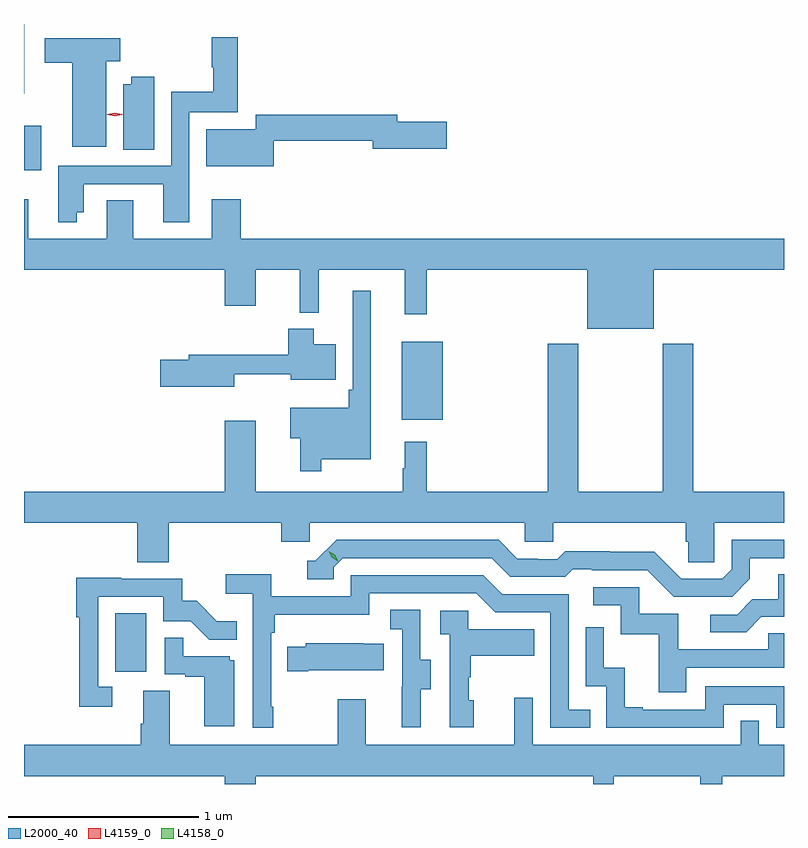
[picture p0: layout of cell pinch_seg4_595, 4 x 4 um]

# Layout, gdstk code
import gdstk
lib = gdstk.Library(unit=1e-6, precision=1e-09)
def R(c, l, rs):  # rectangles x0, y0, x1, y1
    for r in rs: c.add(gdstk.rectangle(r[:2], r[2:], *l))
def P(c, l, *ps):  # polygons
    for p in ps: c.add(gdstk.Polygon(p, *l))
L2000_40 = (2000, 40)
L4158_0 = (4158, 0)
L4159_0 = (4159, 0)

pinch_seg4_595 = lib.new_cell('pinch_seg4_595')
R(pinch_seg4_595, L2000_40, [(1075.52,772.062,1075.684,772.369), (1077.029,773.387,1077.244,773.797), (1075.04,774.701,1075.132,774.934), (1075.04,775.104,1075.041,775.47)])
P(pinch_seg4_595, L2000_40, [(1075.318,774.479),(1075.354,774.479),(1075.354,774.627),(1075.772,774.627),(1075.772,774.426),(1075.911,774.426),(1075.911,775.005),(1076.165,775.005),(1076.165,775.399),(1076.029,775.399),(1076.029,775.242),(1076.037,775.242),(1076.037,775.114),(1075.815,775.114),(1075.815,774.723),(1075.22,774.723),(1075.22,774.426),(1075.318,774.426)],
  [(1075.474,775.274),(1075.546,775.274),(1075.546,775.396),(1075.149,775.396),(1075.149,775.267),(1075.295,775.267),(1075.295,774.824),(1075.474,774.824)],
  [(1075.726,775.192),(1075.604,775.192),(1075.604,775.153),(1075.562,775.153),(1075.562,774.808),(1075.726,774.808)],
  [(1076.355,774.856),(1076.876,774.856),(1076.876,774.814),(1077.265,774.814),(1077.265,774.956),(1077.004,774.956),(1077.004,774.992),(1076.259,774.992),(1076.259,774.916),(1076,774.916),(1076,774.722),(1076.355,774.722)],
  [(1078.354,774.176),(1079.04,774.176),(1079.04,774.34),(1076.18,774.34),(1076.18,774.547),(1076.027,774.547),(1076.027,774.34),(1075.615,774.34),(1075.615,774.542),(1075.475,774.542),(1075.475,774.34),(1075.063,774.34),(1075.063,774.547),(1075.04,774.547),(1075.04,774.176),(1076.096,774.176),(1076.096,773.988),(1076.26,773.988),(1076.26,774.176),(1076.491,774.176),(1076.491,773.951),(1076.591,773.951),(1076.591,774.176),(1077.044,774.176),(1077.044,773.943),(1077.161,773.943),(1077.161,774.176),(1078.004,774.176),(1078.004,773.867),(1078.354,773.867)],
  [(1076.605,773.18),(1076.866,773.18),(1076.866,774.067),(1076.769,774.067),(1076.769,773.545),(1076.749,773.545),(1076.749,773.449),(1076.442,773.449),(1076.442,773.291),(1076.494,773.291),(1076.494,773.115),(1076.605,773.115)],
  [(1076.146,773.626),(1076.444,773.626),(1076.444,773.597),(1076.68,773.597),(1076.68,773.785),(1076.566,773.785),(1076.566,773.866),(1076.432,773.866),(1076.432,773.729),(1075.907,773.729),(1075.907,773.703),(1075.758,773.703),(1075.758,773.561),(1076.146,773.561)],
  [(1075.04,772.844),(1075.637,772.844),(1075.637,772.636),(1075.802,772.636),(1075.802,772.844),(1076.393,772.844),(1076.393,772.746),(1076.544,772.746),(1076.544,772.844),(1077.675,772.844),(1077.675,772.746),(1077.825,772.746),(1077.825,772.844),(1078.523,772.844),(1078.523,772.746),(1078.537,772.746),(1078.537,772.636),(1078.674,772.636),(1078.674,772.844),(1079.04,772.844),(1079.04,773.008),(1078.562,773.008),(1078.562,773.788),(1078.402,773.788),(1078.402,773.008),(1077.957,773.008),(1077.957,773.788),(1077.797,773.788),(1077.797,773.008),(1077.161,773.008),(1077.161,773.272),(1077.044,773.272),(1077.044,773.132),(1077.033,773.132),(1077.033,773.008),(1076.26,773.008),(1076.26,773.383),(1076.096,773.383),(1076.096,773.008),(1075.04,773.008)],
  [(1078.861,772.549),(1078.861,772.659),(1079.04,772.659),(1079.04,772.755),(1078.764,772.755),(1078.764,772.599),(1078.716,772.551),(1078.5,772.551),(1078.358,772.693),(1078.122,772.693),(1078.122,772.696),(1077.889,772.696),(1077.847,772.653),(1077.744,772.653),(1077.744,772.656),(1077.637,772.656),(1077.538,772.755),(1076.685,772.755),(1076.574,772.644),(1076.531,772.644),(1076.531,772.548),(1076.67,772.548),(1076.67,772.611),(1076.718,772.659),(1077.501,772.659),(1077.6,772.56),(1077.889,772.56),(1077.928,772.599),(1078.027,772.599),(1078.027,772.596),(1078.32,772.596),(1078.461,772.455),(1078.767,772.455)],
  [(1078.921,772.35),(1079.04,772.35),(1079.04,772.574),(1079.009,772.574),(1079.009,772.442),(1078.874,772.442),(1078.794,772.362),(1078.653,772.362),(1078.653,772.269),(1078.84,772.269)],
  [(1076.353,771.877),(1076.34,771.877),(1076.34,772.265),(1076.36,772.265),(1076.36,772.361),(1076.856,772.361),(1076.856,772.473),(1077.42,772.473),(1077.519,772.374),(1077.81,772.374),(1077.81,771.765),(1078.019,771.765),(1078.019,771.861),(1077.906,771.861),(1077.906,772.47),(1077.556,772.47),(1077.457,772.569),(1076.76,772.569),(1076.76,772.458),(1076.342,772.458),(1076.342,772.574),(1076.103,772.574),(1076.103,772.472),(1076.244,772.472),(1076.244,771.765),(1076.353,771.765)],
  [(1075.504,771.981),(1075.431,771.981),(1075.431,772.455),(1075.773,772.455),(1075.773,772.326),(1075.917,772.326),(1076.015,772.228),(1076.159,772.228),(1076.159,772.327),(1076.055,772.327),(1075.948,772.434),(1075.872,772.434),(1075.872,772.551),(1075.553,772.551),(1075.553,772.556),(1075.315,772.556),(1075.315,772.348),(1075.33,772.348),(1075.33,771.876),(1075.504,771.876)],
  [(1078.525,772.083),(1079.04,772.083),(1079.04,772.263),(1078.957,772.263),(1078.957,772.179),(1078.483,772.179),(1078.483,772.365),(1078.278,772.365),(1078.278,772.506),(1078.035,772.506),(1078.035,772.41),(1078.182,772.41),(1078.182,772.257),(1078.381,772.257),(1078.381,771.954),(1078.525,771.954)],
  [(1077.127,771.97),(1077.181,771.97),(1077.181,772.125),(1077.126,772.125),(1077.126,772.388),(1076.967,772.388),(1076.967,772.285),(1077.03,772.285),(1077.03,771.981),(1077.029,771.981),(1077.029,771.768),(1077.127,771.768)],
  [(1077.406,771.912),(1077.381,771.912),(1077.381,772.031),(1077.391,772.031),(1077.391,772.145),(1077.725,772.145),(1077.725,772.285),(1077.378,772.285),(1077.378,772.383),(1077.231,772.383),(1077.231,772.259),(1077.282,772.259),(1077.282,771.768),(1077.406,771.768)],
  [(1078.722,771.888),(1078.998,771.888),(1078.998,771.765),(1079.04,771.765),(1079.04,771.984),(1078.626,771.984),(1078.626,771.861),(1078.297,771.861),(1078.297,771.874),(1078.202,771.874),(1078.202,772.082),(1078.092,772.082),(1078.092,772.294),(1077.996,772.294),(1077.996,771.984),(1078.104,771.984),(1078.104,771.765),(1078.722,771.765)],
  [(1076.146,772.122),(1076.124,772.122),(1076.124,772.143),(1075.877,772.143),(1075.877,772.241),(1075.782,772.241),(1075.782,772.047),(1075.889,772.047),(1075.889,772.035),(1075.988,772.035),(1075.988,771.774),(1076.146,771.774)],
  [(1076.536,772.07),(1076.933,772.07),(1076.933,772.207),(1076.825,772.207),(1076.825,772.21),(1076.523,772.21),(1076.523,772.192),(1076.425,772.192),(1076.425,772.063),(1076.536,772.063)],
  [(1076.26,771.512),(1078.036,771.512),(1078.036,771.47),(1078.145,771.47),(1078.145,771.512),(1078.598,771.512),(1078.598,771.47),(1078.715,771.47),(1078.715,771.512),(1079.04,771.512),(1079.04,771.676),(1078.908,771.676),(1078.908,771.803),(1078.812,771.803),(1078.812,771.676),(1077.717,771.676),(1077.717,771.925),(1077.62,771.925),(1077.62,771.676),(1076.839,771.676),(1076.839,771.916),(1076.692,771.916),(1076.692,771.676),(1075.807,771.676),(1075.807,771.962),(1075.667,771.962),(1075.667,771.788),(1075.655,771.788),(1075.655,771.676),(1075.04,771.676),(1075.04,771.512),(1076.096,771.512),(1076.096,771.47),(1076.26,771.47)])
P(pinch_seg4_595, L4158_0, [(1076.692,772.643),(1076.661,772.663),(1076.645,772.696),(1076.645,772.696),(1076.645,772.696),(1076.676,772.676),(1076.693,772.643),(1076.693,772.643)])
P(pinch_seg4_595, L4159_0, [(1075.518,774.984),(1075.478,774.993),(1075.478,774.994),(1075.478,774.994),(1075.518,775.004),(1075.557,774.994),(1075.558,774.994),(1075.557,774.993)])

lib.write_gds('pinch_seg4_595.gds')
